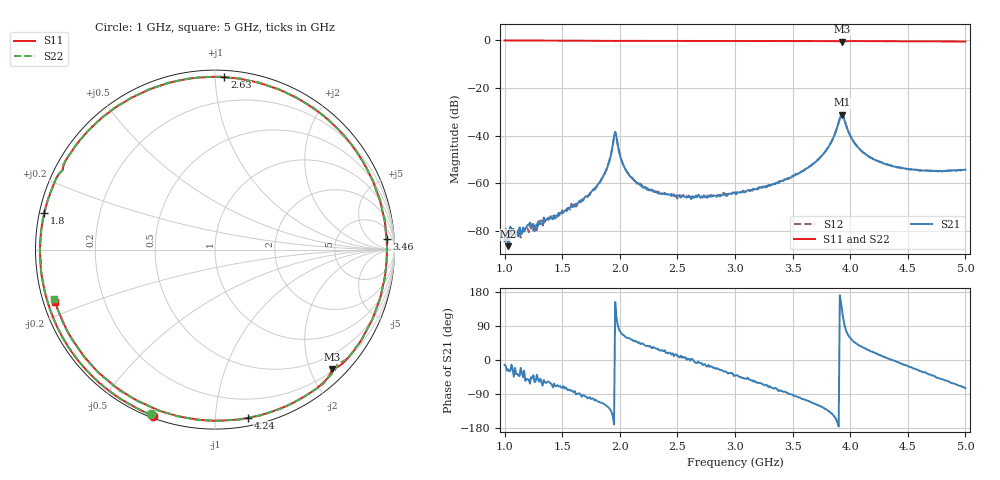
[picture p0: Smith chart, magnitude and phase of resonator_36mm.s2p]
!Keysight Technologies,N5242A,MY48420869,A.10.65.01
!Date: Friday, September 13, 2019 11:45:47
!Correction: S33(Full 4 Port(1,2,3,4))
!S43(Full 4 Port(1,2,3,4))
!S34(Full 4 Port(1,2,3,4))
!S44(Full 4 Port(1,2,3,4))
!S2P File: Measurements: S33, S43, S34, S44:
!Created with skrf (http://scikit-rf.org).
# Hz S RI R 50.0
!freq ReS11 ImS11 ReS21 ImS21 ReS12 ImS12 ReS22 ImS22
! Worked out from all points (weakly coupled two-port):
!   401 points, 1 GHz to 5 GHz, reference 50 ohm
!   highest |S21| = -31.18 dB at 3.93 GHz (marker M1); lowest = -86.3 dB at 1.03 GHz (marker M2)
!   lowest |S11| = -0.6 dB at 3.93 GHz (marker M3), VSWR 28.44, Z = 11.6 - j118 ohm
!   |S11| at or under -10 dB: nowhere
!   |S22| runs from -0.6 to -0.1 dB; largest |S21 - S12| = 0.00022
!   S11 on the Smith chart (normalised r, x): 1 GHz: 0.01, -0.70; 1.8 GHz: 0.01, +0.11; 2.63 GHz: 0.04, +1.06; 3.46 GHz: 15, +22; 4.24 GHz: 0.06, -1.22; 5 GHz: 0.03, -0.16
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1e9  -0.3427 -0.9252  6.45e-05 -1.49e-05  5.72e-05 -7.67e-06  -0.3589 -0.9174
1.03e9  -0.3925 -0.9044  4.39e-05 -1.99e-05  7.26e-05 -2.06e-05  -0.4111 -0.8961
1.28e9  -0.7465 -0.6379  0.000108 -8.83e-05  6.44e-05 -8.15e-05  -0.7569 -0.6253
1.67e9  -0.9748 -0.0176  -5.57e-05 -0.000454  -2.69e-05 -0.000436  -0.976 -0.0132
1.8e9  -0.9512 0.2021  -0.000262 -0.000819  -0.000278 -0.000822  -0.9528 0.2021
1.89e9  -0.9064 0.3445  -0.00113 -0.00176  -0.00115 -0.0018  -0.9067 0.342
1.96e9  -0.8477 0.4433  -0.0106 0.00544  -0.0107 0.00544  -0.8513 0.4376
2.02e9  -0.8093 0.5318  0.00104 0.0026  0.00104 0.00262  -0.8135 0.5241
2.08e9  -0.7497 0.6131  0.000817 0.00128  0.000854 0.00129  -0.7557 0.6056
2.21e9  -0.5944 0.7621  0.000611 0.000519  0.000642 0.000538  -0.6066 0.7519
2.34e9  -0.4114 0.8717  0.000556 0.00027  0.000568 0.000295  -0.4312 0.8627
2.63e9  0.0525 0.9603  0.000535 1.9e-05  0.000534 1.74e-05  0.0158 0.9635
3e9  0.6148 0.737  0.00046 -0.000403  0.000506 -0.000411  0.5773 0.7659
3.46e9  0.9561 0.0584  3.75e-05 -0.00126  5.98e-05 -0.0013  0.9501 0.1079
3.67e9  0.9075 -0.3051  -0.00095 -0.0023  -0.000974 -0.00231  0.9228 -0.2578
3.81e9  0.7987 -0.5281  -0.00397 -0.00409  -0.00399 -0.00414  0.8234 -0.4915
3.93e9  0.6512 -0.6669  -0.0177 0.0212  -0.0178 0.0213  0.6805 -0.639
4.06e9  0.4876 -0.8241  0.00443 0.00397  0.00444 0.00395  0.5179 -0.806
4.24e9  0.185 -0.9373  0.00285 0.000767  0.00281 0.000744  0.206 -0.9323
4.34e9  0.00232 -0.9532  0.0024 0.000113  0.00243 0.000104  0.0192 -0.9544
4.65e9  -0.5218 -0.7877  0.00158 -0.000984  0.00157 -0.00101  -0.5231 -0.7904
5e9  -0.8899 -0.2929  0.000507 -0.00185  0.000533 -0.00188  -0.8964 -0.2757
